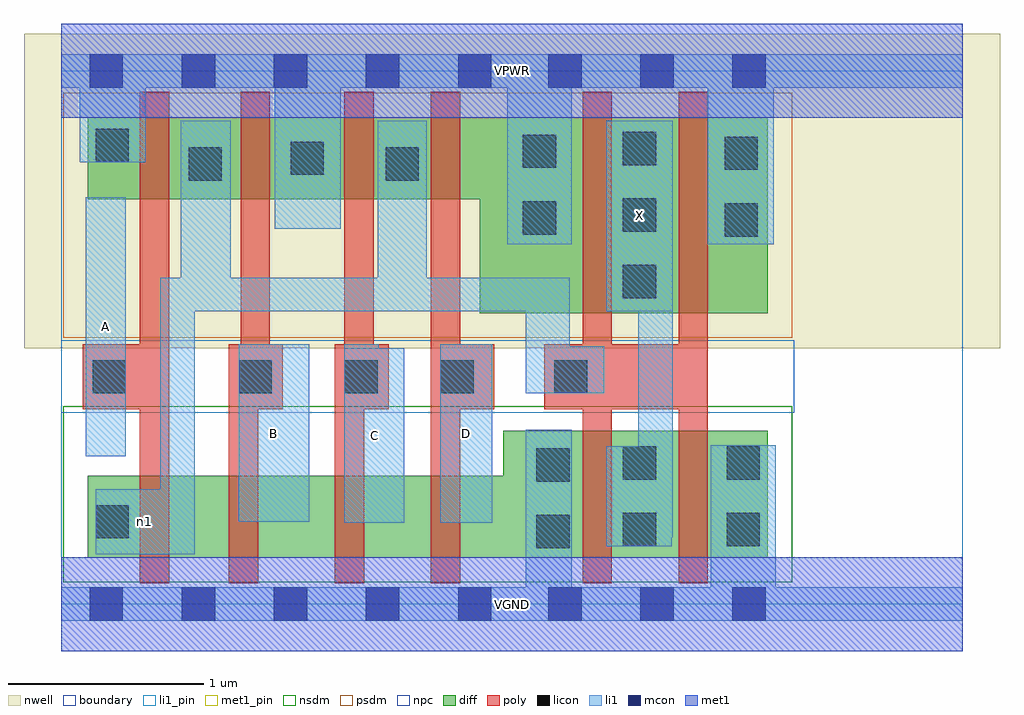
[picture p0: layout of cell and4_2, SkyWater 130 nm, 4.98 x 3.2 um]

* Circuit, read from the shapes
.subckt and4_2 A B C D VGND VPWR X n1
XM1 n2 A n1 VSUBS sky130_fd_pr__nfet_01v8 w=0.42 l=0.15
XM2 n3 B n2 VSUBS sky130_fd_pr__nfet_01v8 w=0.42 l=0.15
XM3 n4 C n3 VSUBS sky130_fd_pr__nfet_01v8 w=0.42 l=0.15
XM4 VGND D n4 VSUBS sky130_fd_pr__nfet_01v8 w=0.42 l=0.15
XM5 X n1 VGND VSUBS sky130_fd_pr__nfet_01v8 w=0.65 l=0.15 m=2
XM6 n1 A VPWR n5 sky130_fd_pr__pfet_01v8 w=0.42 l=0.15
XM7 VPWR B n1 n5 sky130_fd_pr__pfet_01v8 w=0.42 l=0.15
XM8 n1 C VPWR n5 sky130_fd_pr__pfet_01v8 w=0.42 l=0.15
XM9 VPWR D n1 n5 sky130_fd_pr__pfet_01v8 w=0.42 l=0.15
XM10 X n1 VPWR n5 sky130_fd_pr__pfet_01v8 w=1 l=0.15 m=2
.ends

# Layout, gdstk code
import gdstk
lib = gdstk.Library(unit=1e-6, precision=1e-09)
def R(c, l, rs):  # rectangles x0, y0, x1, y1
    for r in rs: c.add(gdstk.rectangle(r[:2], r[2:], *l))
def A(c, l, x, y, w, h, nx, ny, dx, dy):  # array of equal rectangles
    R(c, l, [(x+i*dx, y+j*dy, x+i*dx+w, y+j*dy+h) for i in range(nx) for j in range(ny)])
nwell = (64, 20)
diff = (65, 20)
poly = (66, 20)
licon = (66, 44)
li1_pin = (67, 16)
li1 = (67, 20)
mcon = (67, 44)
met1_pin = (68, 16)
met1 = (68, 20)
nsdm = (93, 44)
psdm = (94, 20)
npc = (95, 20)
boundary = (235, 4)

and4_2 = lib.new_cell('and4_2')
R(and4_2, nwell, [(-0.19,1.305,4.79,2.91), (0,1.305,4.6,2.91)])
R(and4_2, diff, [(0.135,0.235,3.605,0.655), (2.255,0.235,3.605,0.885), (2.135,1.485,3.605,2.485), (0.135,2.065,3.605,2.485)])
R(and4_2, poly, [(0.4,0.105,0.55,2.615), (0.855,0.105,1.005,1.325), (1.395,0.105,1.545,1.325), (1.885,0.105,2.035,2.615), (2.66,0.105,2.81,2.615), (3.15,0.105,3.3,2.615), (0.11,0.995,0.55,1.325), (0.855,0.995,1.13,1.325), (0.915,0.995,1.065,2.615), (1.395,0.995,1.67,1.325), (1.445,0.995,1.595,2.615), (1.885,0.995,2.21,1.325), (2.465,0.995,3.3,1.325)])
A(and4_2, licon, 2.865, 1.56, 0.17, 0.17, 1, 3, 0, 0.34)
R(and4_2, licon, [(2.425,0.285,2.595,0.455), (2.865,0.295,3.035,0.465), (3.395,0.295,3.565,0.465), (0.175,0.335,0.345,0.505), (2.425,0.625,2.595,0.795), (2.865,0.635,3.035,0.805), (3.395,0.635,3.565,0.805), (0.16,1.075,0.33,1.245), (0.905,1.075,1.075,1.245), (1.445,1.075,1.615,1.245), (1.935,1.075,2.105,1.245), (2.515,1.075,2.685,1.245), (3.385,1.875,3.555,2.045), (2.355,1.885,2.525,2.055), (0.65,2.16,0.82,2.33), (1.655,2.16,1.825,2.33), (1.17,2.19,1.34,2.36), (3.385,2.215,3.555,2.385), (2.355,2.225,2.525,2.395), (0.175,2.255,0.345,2.425)])
R(and4_2, li1_pin, [(1.445,0.415,1.75,1.305), (1.935,0.415,2.2,1.325), (0.905,0.42,1.265,1.325), (0.125,0.755,0.33,2.075), (2.78,1.495,3.12,2.465)])
R(and4_2, li1, [(0,-0.085,4.6,0.085), (2.37,-0.085,2.605,0.89), (3.315,-0.085,3.645,0.81), (0.175,0.255,0.68,0.585), (0.505,0.255,0.68,1.665), (2.78,0.295,3.115,0.805), (2.945,0.34,3.12,2.465), (1.445,0.415,1.75,1.305), (1.445,0.415,1.62,1.325), (1.935,0.415,2.2,1.325), (0.905,0.42,1.265,1.325), (0.125,0.755,0.33,2.075), (2.37,1.075,2.77,1.315), (2.37,1.075,2.595,1.665), (0.505,1.495,2.595,1.665), (0.61,1.495,0.865,2.465), (1.615,1.495,1.865,2.465), (2.78,1.495,3.12,2.465), (2.275,1.835,2.605,2.805), (3.3,1.835,3.635,2.805), (1.09,1.915,1.425,2.805), (0.095,2.255,0.43,2.805), (0,2.635,4.6,2.805)])
A(and4_2, mcon, 0.145, -0.085, 0.17, 0.17, 5, 2, 0.47, 2.72)
A(and4_2, mcon, 2.485, -0.085, 0.17, 0.17, 3, 2, 0.47, 2.72)
R(and4_2, met1_pin, [(0,-0.24,4.6,0.24), (0,2.48,4.6,2.96)])
R(and4_2, met1, [(0,-0.24,4.6,0.24), (0,2.48,4.6,2.96)])
R(and4_2, nsdm, [(0.01,0.11,3.73,1.01)])
R(and4_2, psdm, [(0.01,1.36,3.73,2.61)])
R(and4_2, npc, [(0,0.975,3.74,1.345)])
R(and4_2, boundary, [(0,0,4.6,2.72)])
and4_2.add(gdstk.Label('A', (0.227,1.415), layer=67, texttype=5))
and4_2.add(gdstk.Label('B', (1.085,0.872), layer=67, texttype=5))
and4_2.add(gdstk.Label('C', (1.597,0.86), layer=67, texttype=5))
and4_2.add(gdstk.Label('D', (2.067,0.87), layer=67, texttype=5))
and4_2.add(gdstk.Label('X', (2.95,1.98), layer=67, texttype=5))
and4_2.add(gdstk.Label('n1', (0.427,0.42), layer=67, texttype=5))
and4_2.add(gdstk.Label('VPWR', (2.3,2.72), layer=68, texttype=5))
and4_2.add(gdstk.Label('VGND', (2.3,0), layer=68, texttype=5))
and4_2.add(gdstk.Label('A', (0.227,1.415), layer=67, texttype=16))
and4_2.add(gdstk.Label('B', (1.085,0.872), layer=67, texttype=16))
and4_2.add(gdstk.Label('C', (1.597,0.86), layer=67, texttype=16))
and4_2.add(gdstk.Label('D', (2.067,0.87), layer=67, texttype=16))
and4_2.add(gdstk.Label('X', (2.95,1.98), layer=67, texttype=16))
and4_2.add(gdstk.Label('VPWR', (2.3,2.72), layer=68, texttype=16))
and4_2.add(gdstk.Label('VGND', (2.3,0), layer=68, texttype=16))

lib.write_gds('and4_2.gds')
